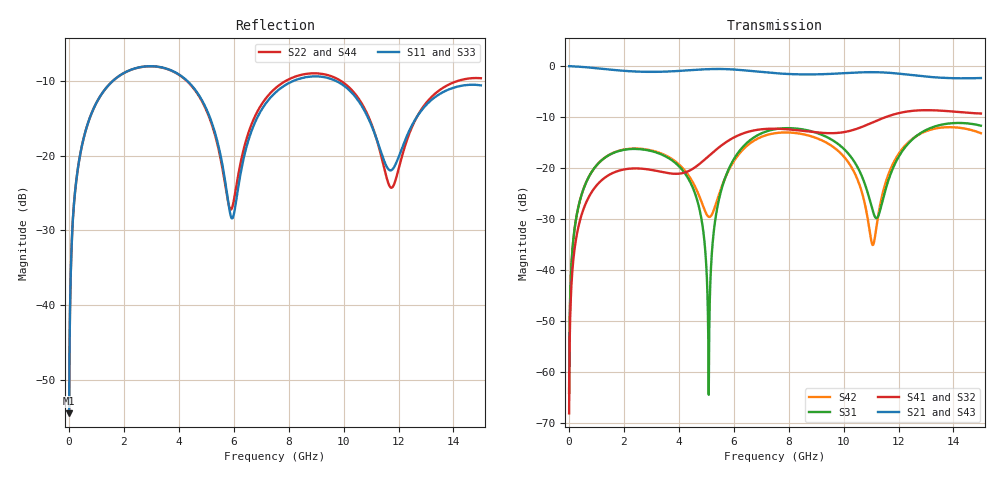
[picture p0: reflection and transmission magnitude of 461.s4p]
! Created with skrf 1.8.0 (http://scikit-rf.org).
# GHz S RI R 50.0
!freq ReS11 ImS11 ReS12 ImS12 ReS13 ImS13
! ReS14 ImS14
! ReS21 ImS21 ReS22 ImS22 ReS23 ImS23
! ReS24 ImS24
! ReS31 ImS31 ReS32 ImS32 ReS33 ImS33
! ReS34 ImS34
! ReS41 ImS41 ReS42 ImS42 ReS43 ImS43
! ReS44 ImS44
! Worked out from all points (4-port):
!   2499 points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, 5 MHz to 15 GHz, reference 50 ohm
!   strongest paths, dB at 5 MHz, 3.476 GHz, 7.19 GHz, 11.1 GHz, 15 GHz:
!     S21: 0.0, -1.1, -1.3, -1.2, -2.3
!     S43: 0.0, -1.1, -1.3, -1.2, -2.4
!     S41: -68.2, -20.9, -12.3, -11.0, -9.3
!     S32: -68.2, -20.9, -12.3, -11.0, -9.3
!     S31: -64.1, -17.6, -12.8, -29.0, -11.7
!     S42: -64.1, -17.4, -13.5, -34.8, -13.2
!   lowest |S11| = -54.4 dB at 5 MHz (marker M1), VSWR 1.00, Z = 50.2 + j0.116 ohm
!   |S11| at or under -10 dB: start of sweep to 1.611 GHz; 4.292 GHz to 8.204 GHz (3.912 GHz wide, 62.6 % of centre); 9.691 GHz to end of sweep
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0.005  0.00152 0.00115  0.9985 -0.00296  7.64e-05 0.000616  -7.42e-05 -0.000384
       0.9985 -0.00296  0.00152 0.00115  -7.42e-05 -0.000384  7.64e-05 0.000616
       7.64e-05 0.000616  -7.42e-05 -0.000384  0.00152 0.00115  0.9985 -0.00296
       -7.42e-05 -0.000384  7.64e-05 0.000616  0.9985 -0.00296  0.00152 0.00115
1.469362  0.2309 0.189  0.6301 -0.6773  0.113 0.0729  -0.0836 -0.0193
          0.6301 -0.6773  0.2304 0.1892  -0.0836 -0.0193  0.1147 0.071
          0.113 0.0729  -0.0836 -0.0193  0.231 0.1891  0.63 -0.6773
          -0.0836 -0.0193  0.1147 0.071  0.63 -0.6773  0.2305 0.1893
5.089621  0.1049 -0.1556  -0.8081 -0.4676  -0.000591 -6.4e-05  -0.0617 0.1157
          -0.8081 -0.4676  0.1068 -0.1493  -0.0625 0.1152  -0.0288 -0.0165
          -0.000591 -6.4e-05  -0.0625 0.1152  0.1054 -0.1571  -0.8078 -0.4675
          -0.0617 0.1157  -0.0288 -0.0165  -0.8078 -0.4675  0.108 -0.1504
6.115048  0.0451 0.0291  -0.9199 0.0519  0.0467 0.1275  0.0226 0.2049
          -0.9199 0.0519  0.0535 0.0386  0.0212 0.205  0.00259 0.1289
          0.0467 0.1275  0.0212 0.205  0.0447 0.0277  -0.9199 0.052
          0.0226 0.2049  0.00259 0.1289  -0.9199 0.052  0.0539 0.0368
9.435181  0.3215 -0.0681  0.1019 0.8304  0.1578 -0.1202  0.1973 -0.0967
          0.1019 0.8304  0.3309 -0.0918  0.1975 -0.0937  0.1581 -0.0716
          0.1578 -0.1202  0.1975 -0.0937  0.3233 -0.071  0.1035 0.8295
          0.1973 -0.0967  0.1581 -0.0716  0.1035 0.8295  0.3321 -0.0911
11.06711  0.1126 -0.0997  0.727 0.4816  -0.0286 -0.0244  0.1449 -0.2405
          0.727 0.4816  0.0981 -0.1175  0.1491 -0.238  -0.0167 -0.00528
          -0.0286 -0.0244  0.1491 -0.238  0.1108 -0.1046  0.7277 0.4795
          0.1449 -0.2405  -0.0167 -0.00528  0.7277 0.4795  0.1027 -0.1184
15  0.2918 -0.0338  0.1367 -0.7515  0.2288 -0.1237  -0.3406 0.0352
    0.1367 -0.7515  0.3241 -0.0483  -0.3404 0.0288  0.2126 -0.054
    0.2288 -0.1237  -0.3404 0.0288  0.2957 -0.0349  0.1299 -0.7513
    -0.3406 0.0352  0.2126 -0.054  0.1299 -0.7513  0.3256 -0.0531
